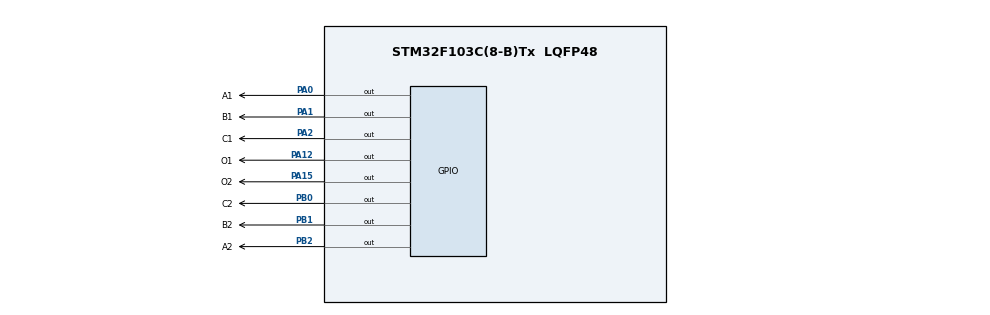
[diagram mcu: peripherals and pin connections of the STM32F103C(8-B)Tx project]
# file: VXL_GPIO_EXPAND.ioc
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Mcu.Family=STM32F1
Mcu.Name=STM32F103C(8-B)Tx
Mcu.Package=LQFP48
NVIC.PriorityGroup=NVIC_PRIORITYGROUP_4
PA0-WKUP.GPIO_Label=A1
PA0-WKUP.PinState=GPIO_PIN_RESET
PA0-WKUP.Signal=GPIO_Output
PA1.GPIO_Label=B1
PA1.PinState=GPIO_PIN_RESET
PA1.Signal=GPIO_Output
PA12.GPIO_Label=O1
PA12.Signal=GPIO_Output
PA13.Mode=Serial_Wire
PA13.Signal=SYS_JTMS-SWDIO
PA14.Mode=Serial_Wire
PA14.Signal=SYS_JTCK-SWCLK
PA15.GPIO_Label=O2
PA15.Signal=GPIO_Output
PA2.GPIO_Label=C1
PA2.PinState=GPIO_PIN_RESET
PA2.Signal=GPIO_Output
PB0.GPIO_Label=C2
PB0.PinState=GPIO_PIN_RESET
PB0.Signal=GPIO_Output
PB1.GPIO_Label=B2
PB1.PinState=GPIO_PIN_RESET
PB1.Signal=GPIO_Output
PB2.GPIO_Label=A2
PB2.PinState=GPIO_PIN_RESET
PB2.Signal=GPIO_Output
ProjectManager.HeapSize=0x200
ProjectManager.StackSize=0x400
ProjectManager.TargetToolchain=MDK-ARM V5.27
RCC.APB1Freq_Value=8000000
RCC.APB2Freq_Value=8000000
board=custom

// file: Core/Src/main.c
/* USER CODE BEGIN Header */
/**
  ******************************************************************************
  * @file           : main.c
  * @brief          : Main program body
  ******************************************************************************
  * @attention
  *
  * Copyright (c) 2023 STMicroelectronics.
  * All rights reserved.
  *
  * This software is licensed under terms that can be found in the LICENSE file
  * in the root directory of this software component.
  * If no LICENSE file comes with this software, it is provided AS-IS.
  *
  ******************************************************************************
  */
/* USER CODE END Header */
#include "main.h"

void SystemClock_Config(void);
static void MX_GPIO_Init(void);

/* USER CODE BEGIN 0 */
void Led_run() {
	HAL_GPIO_WritePin(O1_GPIO_Port,O1_Pin,0); //ON1
	HAL_GPIO_WritePin(O2_GPIO_Port,O2_Pin,1); //OFF2
	for (int i = 0; i < 8; i++) {
		HAL_GPIO_WritePin(A1_GPIO_Port,A1_Pin,i&(1<<0));
		HAL_GPIO_WritePin(B1_GPIO_Port,B1_Pin,i&(1<<1));
		HAL_GPIO_WritePin(C1_GPIO_Port,C1_Pin,i&(1<<2));
		HAL_Delay(300);
	}
	HAL_GPIO_WritePin(O2_GPIO_Port,O2_Pin,0);  //ON2
	HAL_GPIO_WritePin(O1_GPIO_Port,O1_Pin,1); //OFF1
		for (int j = 7; j > -1; j--) {
		HAL_GPIO_WritePin(A2_GPIO_Port,A2_Pin,j&(1<<0));
		HAL_GPIO_WritePin(B2_GPIO_Port,B2_Pin,j&(1<<1));
		HAL_GPIO_WritePin(C2_GPIO_Port,C2_Pin,j&(1<<2));
		HAL_Delay(300);
	}

}
/* USER CODE END 0 */

int main(void)
{

  /* MCU Configuration--------------------------------------------------------*/

  /* Reset of all peripherals, Initializes the Flash interface and the Systick. */
  HAL_Init();

  /* Configure the system clock */
  SystemClock_Config();

  /* Initialize all configured peripherals */
  MX_GPIO_Init();

  /* Infinite loop */
  while (1)
  {
		Led_run();
  }
}

void SystemClock_Config(void)
{
  RCC_OscInitTypeDef RCC_OscInitStruct = {0};
  RCC_ClkInitTypeDef RCC_ClkInitStruct = {0};

  /** Initializes the RCC Oscillators according to the specified parameters
  * in the RCC_OscInitTypeDef structure.
  */
  RCC_OscInitStruct.OscillatorType = RCC_OSCILLATORTYPE_HSI;
  RCC_OscInitStruct.HSIState = RCC_HSI_ON;
  RCC_OscInitStruct.HSICalibrationValue = RCC_HSICALIBRATION_DEFAULT;
  RCC_OscInitStruct.PLL.PLLState = RCC_PLL_NONE;
  if (HAL_RCC_OscConfig(&RCC_OscInitStruct) != HAL_OK)
  {
    Error_Handler();
  }

  /** Initializes the CPU, AHB and APB buses clocks
  */
  RCC_ClkInitStruct.ClockType = RCC_CLOCKTYPE_HCLK|RCC_CLOCKTYPE_SYSCLK
                              |RCC_CLOCKTYPE_PCLK1|RCC_CLOCKTYPE_PCLK2;
  RCC_ClkInitStruct.SYSCLKSource = RCC_SYSCLKSOURCE_HSI;
  RCC_ClkInitStruct.AHBCLKDivider = RCC_SYSCLK_DIV1;
  RCC_ClkInitStruct.APB1CLKDivider = RCC_HCLK_DIV1;
  RCC_ClkInitStruct.APB2CLKDivider = RCC_HCLK_DIV1;

  if (HAL_RCC_ClockConfig(&RCC_ClkInitStruct, FLASH_LATENCY_0) != HAL_OK)
  {
    Error_Handler();
  }
}

static void MX_GPIO_Init(void)
{
  GPIO_InitTypeDef GPIO_InitStruct = {0};

  /* GPIO Ports Clock Enable */
  __HAL_RCC_GPIOA_CLK_ENABLE();
  __HAL_RCC_GPIOB_CLK_ENABLE();

  /*Configure GPIO pin Output Level */
  HAL_GPIO_WritePin(GPIOA, A1_Pin|B1_Pin|C1_Pin|O1_Pin
                          |O2_Pin, GPIO_PIN_RESET);

  /*Configure GPIO pin Output Level */
  HAL_GPIO_WritePin(GPIOB, C2_Pin|B2_Pin|A2_Pin, GPIO_PIN_RESET);

  /*Configure GPIO pins : A1_Pin B1_Pin C1_Pin O1_Pin
                           O2_Pin */
  GPIO_InitStruct.Pin = A1_Pin|B1_Pin|C1_Pin|O1_Pin
                          |O2_Pin;
  GPIO_InitStruct.Mode = GPIO_MODE_OUTPUT_PP;
  GPIO_InitStruct.Pull = GPIO_NOPULL;
  GPIO_InitStruct.Speed = GPIO_SPEED_FREQ_LOW;
  HAL_GPIO_Init(GPIOA, &GPIO_InitStruct);

  /*Configure GPIO pins : C2_Pin B2_Pin A2_Pin */
  GPIO_InitStruct.Pin = C2_Pin|B2_Pin|A2_Pin;
  GPIO_InitStruct.Mode = GPIO_MODE_OUTPUT_PP;
  GPIO_InitStruct.Pull = GPIO_NOPULL;
  GPIO_InitStruct.Speed = GPIO_SPEED_FREQ_LOW;
  HAL_GPIO_Init(GPIOB, &GPIO_InitStruct);

}

void Error_Handler(void)
{
  __disable_irq();
  while (1)
  {
  }
}
